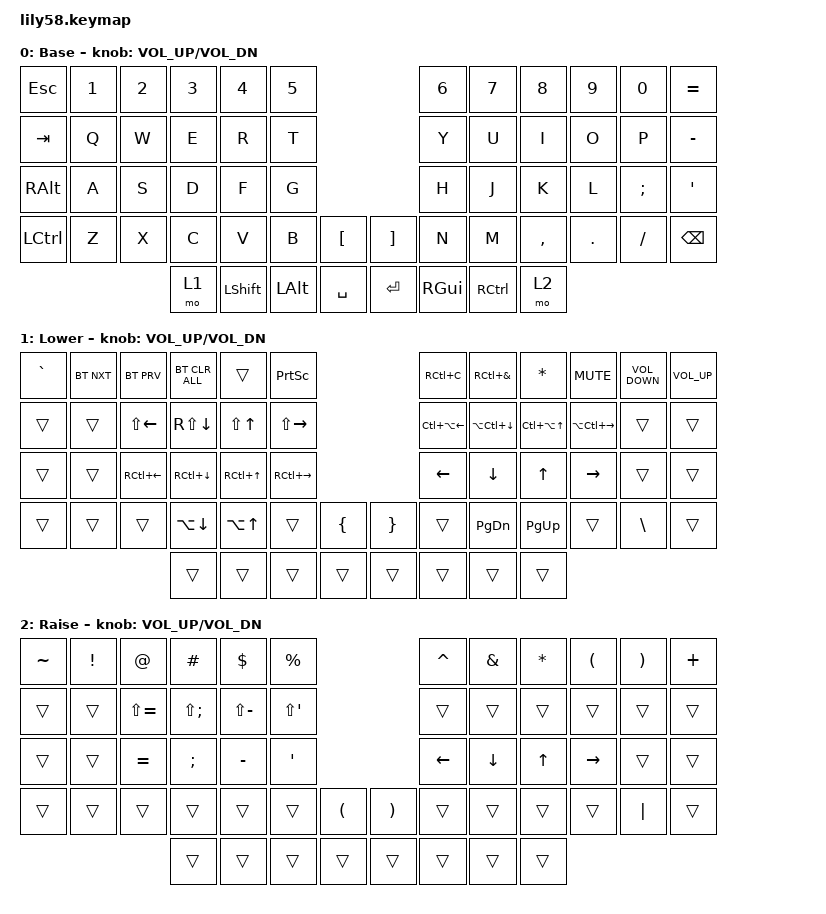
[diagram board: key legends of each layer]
/*
 * Copyright (c) 2020 The ZMK Contributors
 *
 * SPDX-License-Identifier: MIT
 */

#include <behaviors.dtsi>
#include <dt-bindings/zmk/bt.h>
#include <dt-bindings/zmk/keys.h>

/ {
    keymap {
        compatible = "zmk,keymap";

        default_layer {
            // ------------------------------------------------------------------------------------------------------------
            // |  ESC  |  1  |  2  |  3   |  4   |  5   |                   |  6   |  7    |  8    |  9   |   0   |   `   |
            // |  TAB  |  Q  |  W  |  E   |  R   |  T   |                   |  Y   |  U    |  I    |  O   |   P   |   -   |
            // |  CTRL |  A  |  S  |  D   |  F   |  G   |                   |  H   |  J    |  K    |  L   |   ;   |   '   |
            // | SHIFT |  Z  |  X  |  C   |  V   |  B   |   "["  |  |  "]"  |  N   |  M    |  ,    |  .   |   /   | SHIFT |
            //                     | ALT  | GUI  | LOWER|  SPACE |  | ENTER | RAISE| BSPC  | GUI   |

            display-name = "Base";
            bindings = <
&kp ESC           &kp N1  &kp N2  &kp N3  &kp N4          &kp N5                               &kp N6         &kp N7     &kp N8     &kp N9   &kp N0    &kp EQUAL
&kp TAB           &kp Q   &kp W   &kp E   &kp R           &kp T                                &kp Y          &kp U      &kp I      &kp O    &kp P     &kp MINUS
&kp RALT          &kp A   &kp S   &kp D   &kp F           &kp G                                &kp H          &kp J      &kp K      &kp L    &kp SEMI  &kp SQT
&kp LEFT_CONTROL  &kp Z   &kp X   &kp C   &kp V           &kp B         &kp LBKT     &kp RBKT  &kp N          &kp M      &kp COMMA  &kp DOT  &kp FSLH  &kp BACKSPACE
                                  &mo 1   &kp LEFT_SHIFT  &kp LEFT_ALT  &kp SPACE    &kp RET   &kp RIGHT_GUI  &kp RCTRL  &mo 2
            >;

            sensor-bindings = <&inc_dec_kp C_VOL_UP C_VOL_DN>;
        };

        lower_layer {
            // ------------------------------------------------------------------------------------------------------------
            // | BTCLR | BT1 | BT2 |  BT3 |  BT4 |  BT5 |                   |      |       |       |      |       |       |
            // |  F1   |  F2 |  F3 |  F4  |  F5  |  F6  |                   |  F7  |  F8   |  F9   |  F10 |  F11  |  F12  |
            // |   `   |  !  |  @  |  #   |  $   |  %   |                   |  ^   |  &    |  *    |  (   |   )   |   ~   |
            // |       |     |     |      |      |      |        |  |       |      |  _    |  +    |  {   |   }   |  "|"  |
            //                     |      |      |      |        |  |       |      |       |       |

            display-name = "Lower";
            bindings = <
&kp GRAVE  &bt BT_NXT  &bt BT_PRV    &bt BT_CLR_ALL      &trans      &kp PRINTSCREEN                                     &kp RC(C)         &kp RC(AMPS)      &kp ASTERISK          &kp K_MUTE         &kp C_VOLUME_DOWN  &kp C_VOLUME_UP
&trans     &trans      &kp LS(LEFT)  &kp RS(DOWN)        &kp LS(UP)  &kp LS(RIGHT)                                       &kp LC(LA(LEFT))  &kp LA(LC(DOWN))  &kp LC(LA(UP_ARROW))  &kp LA(LC(RIGHT))  &trans             &trans
&trans     &trans      &kp RC(LEFT)  &kp RC(DOWN)        &kp RC(UP)  &kp RC(RIGHT)                                       &kp LEFT          &kp DOWN_ARROW    &kp UP_ARROW          &kp RIGHT          &trans             &trans
&trans     &trans      &trans        &kp LA(DOWN_ARROW)  &kp LA(UP)  &trans           &kp LEFT_BRACE    &kp RIGHT_BRACE  &trans            &kp PAGE_DOWN     &kp PAGE_UP           &trans             &kp BACKSLASH      &trans
                                     &trans              &trans      &trans           &trans            &trans           &trans            &trans            &trans
            >;

            sensor-bindings = <&inc_dec_kp C_VOL_UP C_VOL_DN>;
        };

        raise_layer {
            // ------------------------------------------------------------------------------------------------------------
            // |       |     |     |      |      |      |                   |      |       |       |      |       |       |
            // |   `   |  1  |  2  |  3   |  4   |  5   |                   |  6   |   7   |   8   |  9   |   0   |       |
            // |   F1  |  F2 |  F3 |  F4  |  F5  |  F6  |                   |      |   <-  |   v   |  ^   |  ->   |       |
            // |   F7  |  F8 |  F9 |  F10 |  F11 |  F12 |        |  |       |  +   |   -   |   =   |  [   |   ]   |   \   |
            //                     |      |      |      |        |  |       |      |       |       |

            display-name = "Raise";
            bindings = <
&kp TILDE  &kp EXCL  &kp AT         &kp HASH           &kp DOLLAR     &kp PERCENT                                                 &kp CARET  &kp AMPERSAND   &kp ASTERISK  &kp LEFT_PARENTHESIS  &kp RIGHT_PARENTHESIS  &kp PLUS
&trans     &trans    &kp LS(EQUAL)  &kp LS(SEMICOLON)  &kp LS(MINUS)  &kp LS(SQT)                                                 &trans     &trans          &trans        &trans                &trans                 &trans
&trans     &trans    &kp EQUAL      &kp SEMICOLON      &kp MINUS      &kp SQT                                                     &kp LEFT   &kp DOWN_ARROW  &kp UP_ARROW  &kp RIGHT             &trans                 &trans
&trans     &trans    &trans         &trans             &trans         &trans       &kp LEFT_PARENTHESIS    &kp RIGHT_PARENTHESIS  &trans     &trans          &trans        &trans                &kp PIPE               &trans
                                    &trans             &trans         &trans       &trans                  &trans                 &trans     &trans          &trans
            >;

            sensor-bindings = <&inc_dec_kp C_VOL_UP C_VOL_DN>;
        };

        extra_1 { status = "reserved"; };

        extra_2 { status = "reserved"; };

        extra_3 { status = "reserved"; };
    };
};
